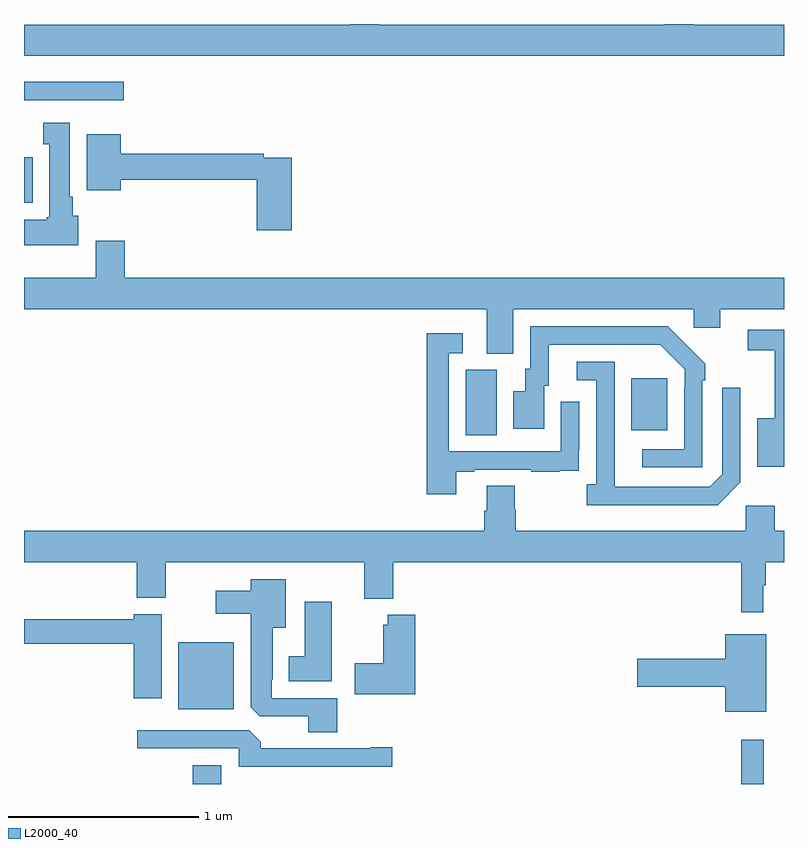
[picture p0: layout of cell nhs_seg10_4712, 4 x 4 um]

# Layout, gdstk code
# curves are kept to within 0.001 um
import gdstk
lib = gdstk.Library(unit=1e-6, precision=1e-09)
def R(c, l, rs):  # rectangles x0, y0, x1, y1
    for r in rs: c.add(gdstk.rectangle(r[:2], r[2:], *l))
def P(c, l, *ps):  # polygons
    for p in ps: c.add(gdstk.Polygon(p, *l))
L2000_40 = (2000, 40)

nhs_seg10_4712 = lib.new_cell('nhs_seg10_4712')
R(nhs_seg10_4712, L2000_40, [(381.887,1280.5,382.039,1280.599), (384.775,1280.5,384.893,1280.734), (381.812,1280.894,382.105,1281.247), (383.324,1282.336,383.488,1282.68), (384.197,1282.361,384.385,1282.636), (381,1283.558,381.046,1283.8), (381,1284.099,381.526,1284.196)])
P(nhs_seg10_4712, L2000_40, [(385,1284.496),(384.524,1284.496),(384.524,1284.5),(384.372,1284.5),(384.372,1284.496),(382.87,1284.496),(382.87,1284.5),(382.718,1284.5),(382.718,1284.496),(381,1284.496),(381,1284.332),(385,1284.332)],
  [(381.286,1283.49),(381.256,1283.49),(381.256,1283.59),(381.241,1283.59),(381.241,1283.98),(381.101,1283.98),(381.101,1283.867),(381.134,1283.867),(381.134,1283.484),(381.121,1283.484),(381.121,1283.47),(381,1283.47),(381,1283.336),(381.286,1283.336)],
  [(382.409,1283.796),(382.262,1283.796),(382.262,1283.816),(381.508,1283.816),(381.508,1283.92),(381.329,1283.92),(381.329,1283.624),(381.508,1283.624),(381.508,1283.68),(382.226,1283.68),(382.226,1283.415),(382.409,1283.415)],
  [(383.575,1283),(384.525,1283),(384.525,1282.902),(384.664,1282.902),(384.664,1283),(385,1283),(385,1283.164),(381.53,1283.164),(381.53,1283.359),(381.377,1283.359),(381.377,1283.164),(381,1283.164),(381,1283),(383.435,1283),(383.435,1282.765),(383.575,1282.765)],
  [(384.57,1282.625),(384.585,1282.625),(384.585,1282.713),(384.388,1282.908),(383.664,1282.908),(383.664,1282.686),(383.639,1282.686),(383.639,1282.567),(383.576,1282.567),(383.576,1282.371),(383.737,1282.371),(383.737,1282.596),(383.761,1282.596),(383.761,1282.812),(384.349,1282.812),(384.477,1282.683),(384.477,1282.583),(384.474,1282.583),(384.474,1282.263),(384.255,1282.263),(384.255,1282.167),(384.57,1282.167)],
  [(385,1282.89),(384.81,1282.89),(384.81,1282.782),(384.95,1282.782),(384.95,1282.426),(384.86,1282.426),(384.86,1282.169),(385,1282.169)],
  [(383.275,1282.143),(383.371,1282.143),(383.371,1282.155),(383.671,1282.155),(383.671,1282.143),(383.819,1282.143),(383.819,1282.149),(383.921,1282.149),(383.921,1282.258),(383.922,1282.258),(383.922,1282.513),(383.826,1282.513),(383.826,1282.251),(383.235,1282.251),(383.235,1282.767),(383.308,1282.767),(383.308,1282.873),(383.119,1282.873),(383.119,1282.026),(383.275,1282.026)],
  [(384.771,1282.089),(384.771,1282.585),(384.675,1282.585),(384.675,1282.131),(384.609,1282.065),(384.109,1282.065),(384.108,1282.722),(383.91,1282.722),(383.91,1282.626),(384.012,1282.626),(384.012,1282.078),(383.961,1282.078),(383.961,1281.968),(384.65,1281.968)],
  [(381,1281.668),(381.593,1281.668),(381.593,1281.479),(381.745,1281.479),(381.745,1281.668),(382.79,1281.668),(382.79,1281.476),(382.943,1281.476),(382.943,1281.668),(384.775,1281.668),(384.775,1281.405),(384.892,1281.405),(384.892,1281.545),(384.904,1281.545),(384.904,1281.668),(385,1281.668),(385,1281.832),(384.95,1281.832),(384.95,1281.964),(384.798,1281.964),(384.798,1281.832),(383.588,1281.832),(383.588,1281.945),(383.583,1281.945),(383.583,1282.07),(383.435,1282.07),(383.435,1281.938),(383.423,1281.938),(383.423,1281.832),(381,1281.832)],
  [(382.649,1280.952),(382.305,1280.952),(382.305,1281.049),(382.309,1281.049),(382.309,1281.323),(382.378,1281.323),(382.378,1281.577),(382.193,1281.577),(382.193,1281.517),(382.008,1281.517),(382.008,1281.395),(382.193,1281.395),(382.193,1280.905),(382.242,1280.856),(382.496,1280.856),(382.496,1280.773),(382.649,1280.773)],
  [(382.621,1281.46),(382.478,1281.46),(382.478,1281.172),(382.394,1281.172),(382.394,1281.041),(382.621,1281.041)],
  [(381.724,1281.394),(381.578,1281.394),(381.578,1281.367),(381,1281.367),(381,1281.238),(381.578,1281.238),(381.578,1280.952),(381.724,1280.952)],
  [(383.06,1281.391),(382.915,1281.391),(382.915,1281.337),(382.892,1281.337),(382.892,1281.135),(382.74,1281.135),(382.74,1280.972),(383.06,1280.972)],
  [(384.907,1281.289),(384.692,1281.289),(384.692,1281.158),(384.228,1281.158),(384.228,1281.011),(384.692,1281.011),(384.692,1280.879),(384.907,1280.879)],
  [(382.939,1280.693),(382.826,1280.693),(382.826,1280.688),(382.247,1280.688),(382.247,1280.722),(382.185,1280.784),(381.597,1280.784),(381.597,1280.688),(382.131,1280.688),(382.131,1280.592),(382.939,1280.592)])

lib.write_gds('nhs_seg10_4712.gds')
